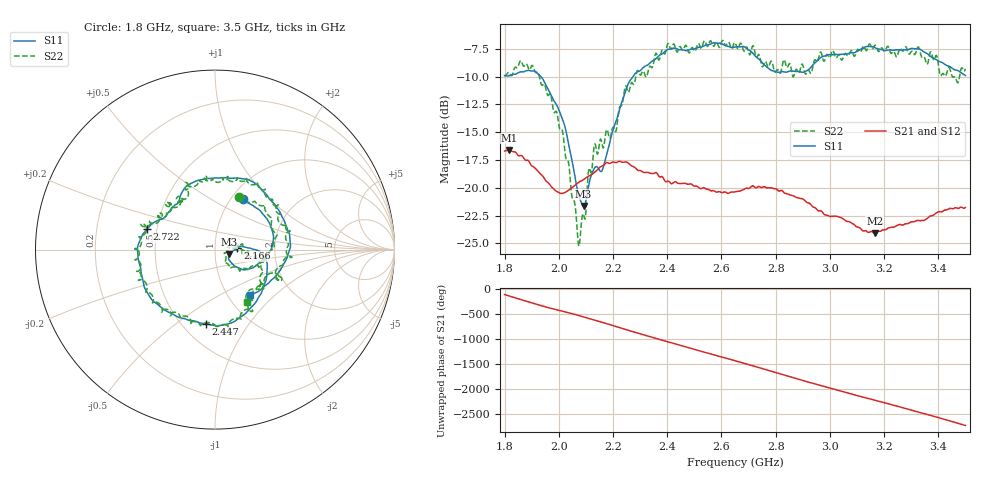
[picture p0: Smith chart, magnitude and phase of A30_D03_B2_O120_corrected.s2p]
! Created with skrf 1.9.0 (http://scikit-rf.org).
# Hz S RI R 50.0
!freq ReS11 ImS11 ReS21 ImS21 ReS12 ImS12 ReS22 ImS22
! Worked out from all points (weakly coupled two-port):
!   1601 points, 1.8 GHz to 3.5 GHz, reference 50 ohm
!   highest |S21| = -16.60 dB at 1.817 GHz (marker M1); lowest = -24.1 dB at 3.165 GHz (marker M2)
!   lowest |S11| = -21.6 dB at 2.091 GHz (marker M3), VSWR 1.18, Z = 58.4 - j3.19 ohm
!   |S11| at or under -10 dB: 1.934 GHz to 2.274 GHz (340.1 MHz wide, 16.2 % of centre)
!   |S22| runs from -25.3 to -6.7 dB; largest |S21 - S12| = 0.0025
!   S11 on the Smith chart (normalised r, x): 1.8 GHz: 1.13, +0.71; 2.166 GHz: 1.29, +0.02; 2.447 GHz: 0.65, -0.65; 2.722 GHz: 0.44, +0.12; 3.5 GHz: 1.26, -0.71
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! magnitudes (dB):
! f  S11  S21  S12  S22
! 1.8 GHz  -9.9  -16.7  -16.7  -9.9
! 1.817 GHz  -9.9  -16.6  -16.6  -9.7
! 1.903 GHz  -9.5  -18.1  -18.1  -9.0
! 1.968 GHz  -11.5  -19.7  -19.8  -11.6
! 2.015 GHz  -13.9  -20.5  -20.5  -15.0
! 2.072 GHz  -20.5  -19.5  -19.6  -25.1
! 2.084 GHz  -21.4  -19.4  -19.3  -23.0
! 2.091 GHz  -21.6  -19.2  -19.3  -22.4
! 2.13 GHz  -18.3  -18.6  -18.6  -16.3
! 2.166 GHz  -18.0  -18.0  -17.9  -16.3
! 2.258 GHz  -10.6  -17.8  -17.8  -11.4
! 2.367 GHz  -8.2  -18.9  -18.8  -8.5
! 2.447 GHz  -7.6  -19.6  -19.6  -7.3
! 2.65 GHz  -7.4  -20.4  -20.3  -6.9
! 2.722 GHz  -8.1  -19.9  -19.9  -7.7
! 2.802 GHz  -9.6  -20.1  -20.1  -9.5
! 2.934 GHz  -9.0  -21.6  -21.6  -9.5
! 3.165 GHz  -7.4  -24.1  -24.1  -7.2
! 3.217 GHz  -7.6  -23.6  -23.6  -7.4
! 3.376 GHz  -8.3  -22.5  -22.5  -7.9
! 3.468 GHz  -9.4  -21.8  -21.8  -10.4
! 3.5 GHz  -9.9  -21.8  -21.8  -9.3
